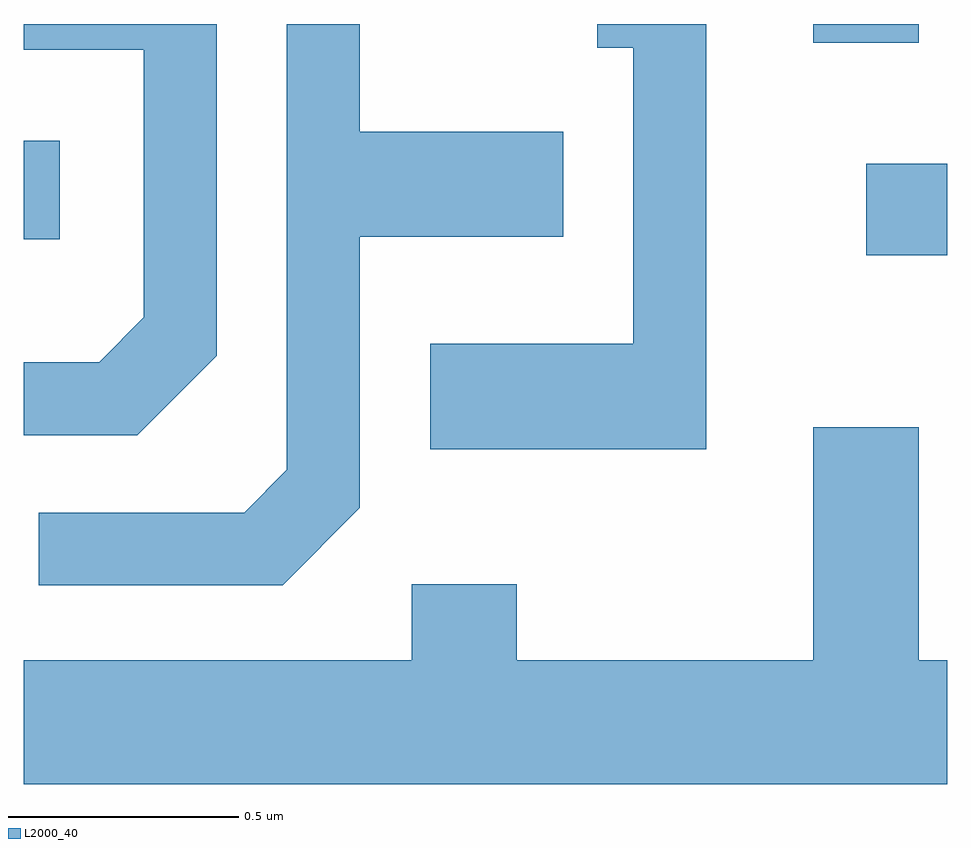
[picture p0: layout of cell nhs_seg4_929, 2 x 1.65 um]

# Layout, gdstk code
import gdstk
lib = gdstk.Library(unit=1e-6, precision=1e-09)
def R(c, l, rs):  # rectangles x0, y0, x1, y1
    for r in rs: c.add(gdstk.rectangle(r[:2], r[2:], *l))
def P(c, l, *ps):  # polygons
    for p in ps: c.add(gdstk.Polygon(p, *l))
L2000_40 = (2000, 40)

nhs_seg4_929 = lib.new_cell('nhs_seg4_929')
R(nhs_seg4_929, L2000_40, [(193.436,1362.481,193.611,1362.679), (191.611,1362.516,191.689,1362.729), (193.321,1362.941,193.549,1362.982)])
P(nhs_seg4_929, L2000_40, [(193.089,1362.982),(192.853,1362.982),(192.853,1362.931),(192.931,1362.931),(192.931,1362.289),(192.491,1362.289),(192.491,1362.061),(193.089,1362.061)],
  [(192.339,1361.934),(192.339,1362.521),(192.779,1362.521),(192.779,1362.749),(192.339,1362.749),(192.339,1362.982),(192.181,1362.982),(192.181,1362.017),(192.089,1361.924),(191.643,1361.924),(191.643,1361.766),(192.172,1361.766)],
  [(192.029,1362.264),(192.029,1362.982),(191.611,1362.982),(191.611,1362.926),(191.871,1362.926),(191.871,1362.347),(191.774,1362.249),(191.611,1362.249),(191.611,1362.091),(191.857,1362.091)],
  [(193.611,1361.604),(193.549,1361.604),(193.549,1362.109),(193.321,1362.109),(193.321,1361.604),(192.679,1361.604),(192.679,1361.769),(192.451,1361.769),(192.451,1361.604),(191.611,1361.604),(191.611,1361.336),(193.611,1361.336)])

lib.write_gds('nhs_seg4_929.gds')
